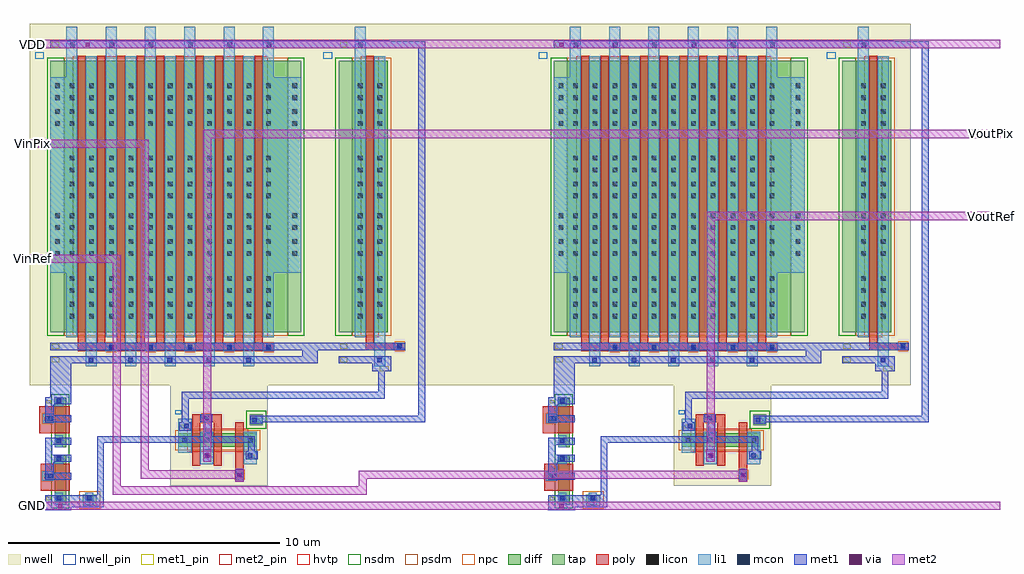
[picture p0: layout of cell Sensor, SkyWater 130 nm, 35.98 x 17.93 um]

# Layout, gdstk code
import gdstk
lib = gdstk.Library(unit=1e-6, precision=1e-09)
def R(c, l, rs):  # rectangles x0, y0, x1, y1
    for r in rs: c.add(gdstk.rectangle(r[:2], r[2:], *l))
def A(c, l, x, y, w, h, nx, ny, dx, dy):  # array of equal rectangles
    R(c, l, [(x+i*dx, y+j*dy, x+i*dx+w, y+j*dy+h) for i in range(nx) for j in range(ny)])
nwell_pin = (64, 16)
nwell = (64, 20)
diff = (65, 20)
tap = (65, 44)
poly = (66, 20)
licon = (66, 44)
li1 = (67, 20)
mcon = (67, 44)
met1_pin = (68, 16)
met1 = (68, 20)
via = (68, 44)
met2_pin = (69, 16)
met2 = (69, 20)
hvtp = (78, 44)
nsdm = (93, 44)
psdm = (94, 20)
npc = (95, 20)

driver = lib.new_cell('Driver')
R(driver, nwell_pin, [(2.29,7.09,2.61,7.33)])
R(driver, nwell, [(2.08,-4.96,12.705,8.37)])
R(driver, diff, [(3.35,-3,11.59,7)])
R(driver, tap, [(2.85,-3,3.35,7), (11.59,-3,12.09,7)])
A(driver, poly, 3.85, -3.38, 0.3, 10.58, 10, 1, 0.725, 0)
R(driver, poly, [(3.85,-3.71,11.1,-3.38)])
A(driver, licon, 5.01, -3.63, 0.17, 0.17, 5, 1, 1.45, 0)
R(driver, licon, [(3.56,-2.495,3.73,-2.325), (4.28,-2.495,4.45,-2.325), (5.01,-2.495,5.18,-2.325), (5.73,-2.495,5.9,-2.325), (6.46,-2.495,6.63,-2.325), (7.18,-2.495,7.35,-2.325), (7.91,-2.495,8.08,-2.325), (8.63,-2.495,8.8,-2.325), (9.36,-2.495,9.53,-2.325), (10.08,-2.495,10.25,-2.325), (10.81,-2.495,10.98,-2.325), (3.56,-2.055,3.73,-1.885), (4.28,-2.055,4.45,-1.885), (5.01,-2.055,5.18,-1.885), (5.73,-2.055,5.9,-1.885), (6.46,-2.055,6.63,-1.885), (7.18,-2.055,7.35,-1.885), (7.91,-2.055,8.08,-1.885), (8.63,-2.055,8.8,-1.885), (9.36,-2.055,9.53,-1.885), (10.08,-2.055,10.25,-1.885), (10.81,-2.055,10.98,-1.885), (3.56,-1.545,3.73,-1.375), (4.28,-1.545,4.45,-1.375), (5.01,-1.545,5.18,-1.375), (5.73,-1.545,5.9,-1.375), (6.46,-1.545,6.63,-1.375), (7.18,-1.545,7.35,-1.375), (7.91,-1.545,8.08,-1.375), (8.63,-1.545,8.8,-1.375), (9.36,-1.545,9.53,-1.375), (10.08,-1.545,10.25,-1.375), (10.81,-1.545,10.98,-1.375), (3.56,-1.105,3.73,-0.935), (4.28,-1.105,4.45,-0.935), (5.01,-1.105,5.18,-0.935), (5.73,-1.105,5.9,-0.935), (6.46,-1.105,6.63,-0.935), (7.18,-1.105,7.35,-0.935), (7.91,-1.105,8.08,-0.935), (8.63,-1.105,8.8,-0.935), (9.36,-1.105,9.53,-0.935), (10.08,-1.105,10.25,-0.935), (10.81,-1.105,10.98,-0.935), (3.03,-0.18,3.2,-0.01), (3.56,-0.18,3.73,-0.01), (4.28,-0.18,4.45,-0.01), (5.01,-0.18,5.18,-0.01), (5.73,-0.18,5.9,-0.01), (6.46,-0.18,6.63,-0.01), (7.18,-0.18,7.35,-0.01), (7.91,-0.18,8.08,-0.01), (8.63,-0.18,8.8,-0.01), (9.36,-0.18,9.53,-0.01), (10.08,-0.18,10.25,-0.01), (10.81,-0.18,10.98,-0.01), (11.77,-0.18,11.94,-0.01), (3.03,0.26,3.2,0.43), (3.56,0.26,3.73,0.43), (4.28,0.26,4.45,0.43), (5.01,0.26,5.18,0.43), (5.73,0.26,5.9,0.43), (6.46,0.26,6.63,0.43), (7.18,0.26,7.35,0.43), (7.91,0.26,8.08,0.43), (8.63,0.26,8.8,0.43), (9.36,0.26,9.53,0.43), (10.08,0.26,10.25,0.43), (10.81,0.26,10.98,0.43), (11.77,0.26,11.94,0.43), (3.03,0.77,3.2,0.94), (3.56,0.77,3.73,0.94), (4.28,0.77,4.45,0.94), (5.01,0.77,5.18,0.94), (5.73,0.77,5.9,0.94), (6.46,0.77,6.63,0.94), (7.18,0.77,7.35,0.94), (7.91,0.77,8.08,0.94), (8.63,0.77,8.8,0.94), (9.36,0.77,9.53,0.94), (10.08,0.77,10.25,0.94), (10.81,0.77,10.98,0.94), (11.77,0.77,11.94,0.94), (3.03,1.21,3.2,1.38), (3.56,1.21,3.73,1.38), (4.28,1.21,4.45,1.38), (5.01,1.21,5.18,1.38), (5.73,1.21,5.9,1.38), (6.46,1.21,6.63,1.38), (7.18,1.21,7.35,1.38), (7.91,1.21,8.08,1.38), (8.63,1.21,8.8,1.38), (9.36,1.21,9.53,1.38), (10.08,1.21,10.25,1.38), (10.81,1.21,10.98,1.38), (11.77,1.21,11.94,1.38), (3.56,1.945,3.73,2.115), (4.28,1.945,4.45,2.115), (5.01,1.945,5.18,2.115), (5.73,1.945,5.9,2.115), (6.46,1.945,6.63,2.115), (7.18,1.945,7.35,2.115), (7.91,1.945,8.08,2.115), (8.63,1.945,8.8,2.115), (9.36,1.945,9.53,2.115), (10.08,1.945,10.25,2.115), (10.81,1.945,10.98,2.115), (3.56,2.385,3.73,2.555), (4.28,2.385,4.45,2.555), (5.01,2.385,5.18,2.555), (5.73,2.385,5.9,2.555), (6.46,2.385,6.63,2.555), (7.18,2.385,7.35,2.555), (7.91,2.385,8.08,2.555), (8.63,2.385,8.8,2.555), (9.36,2.385,9.53,2.555), (10.08,2.385,10.25,2.555), (10.81,2.385,10.98,2.555), (3.56,2.895,3.73,3.065), (4.28,2.895,4.45,3.065), (5.01,2.895,5.18,3.065), (5.73,2.895,5.9,3.065), (6.46,2.895,6.63,3.065), (7.18,2.895,7.35,3.065), (7.91,2.895,8.08,3.065), (8.63,2.895,8.8,3.065), (9.36,2.895,9.53,3.065), (10.08,2.895,10.25,3.065), (10.81,2.895,10.98,3.065), (3.56,3.335,3.73,3.505), (4.28,3.335,4.45,3.505), (5.01,3.335,5.18,3.505), (5.73,3.335,5.9,3.505), (6.46,3.335,6.63,3.505), (7.18,3.335,7.35,3.505), (7.91,3.335,8.08,3.505), (8.63,3.335,8.8,3.505), (9.36,3.335,9.53,3.505), (10.08,3.335,10.25,3.505), (10.81,3.335,10.98,3.505), (3.03,4.61,3.2,4.78), (3.56,4.61,3.73,4.78), (4.28,4.61,4.45,4.78), (5.01,4.61,5.18,4.78), (5.73,4.61,5.9,4.78), (6.46,4.61,6.63,4.78), (7.18,4.61,7.35,4.78), (7.91,4.61,8.08,4.78), (8.63,4.61,8.8,4.78), (9.36,4.61,9.53,4.78), (10.08,4.61,10.25,4.78), (10.81,4.61,10.98,4.78), (11.77,4.61,11.94,4.78), (3.03,5.05,3.2,5.22), (3.56,5.05,3.73,5.22), (4.28,5.05,4.45,5.22), (5.01,5.05,5.18,5.22), (5.73,5.05,5.9,5.22), (6.46,5.05,6.63,5.22), (7.18,5.05,7.35,5.22), (7.91,5.05,8.08,5.22), (8.63,5.05,8.8,5.22), (9.36,5.05,9.53,5.22), (10.08,5.05,10.25,5.22), (10.81,5.05,10.98,5.22), (11.77,5.05,11.94,5.22), (3.03,5.56,3.2,5.73), (3.56,5.56,3.73,5.73), (4.28,5.56,4.45,5.73), (5.01,5.56,5.18,5.73), (5.73,5.56,5.9,5.73), (6.46,5.56,6.63,5.73), (7.18,5.56,7.35,5.73), (7.91,5.56,8.08,5.73), (8.63,5.56,8.8,5.73), (9.36,5.56,9.53,5.73), (10.08,5.56,10.25,5.73), (10.81,5.56,10.98,5.73), (11.77,5.56,11.94,5.73), (3.03,6,3.2,6.17), (3.56,6,3.73,6.17), (4.28,6,4.45,6.17), (5.01,6,5.18,6.17), (5.73,6,5.9,6.17), (6.46,6,6.63,6.17), (7.18,6,7.35,6.17), (7.91,6,8.08,6.17), (8.63,6,8.8,6.17), (9.36,6,9.53,6.17), (10.08,6,10.25,6.17), (10.81,6,10.98,6.17), (11.77,6,11.94,6.17)])
A(driver, li1, 4.16, -4.255, 0.405, 11.435, 5, 1, 1.45, 0)
A(driver, li1, 4.875, -3.71, 0.425, 0.33, 5, 1, 1.45, 0)
A(driver, li1, 4.885, -3.18, 0.405, 11.435, 4, 1, 1.45, 0)
R(driver, li1, [(3.435,-3.18,3.84,-0.805), (10.685,-3.18,11.09,-0.805), (2.85,-0.805,3.84,6.405), (10.685,-0.805,12.09,6.405), (3.435,6.405,3.84,8.255), (10.685,6.405,11.09,8.255)])
A(driver, mcon, 4.265, -4.105, 0.17, 0.17, 5, 1, 1.45, 0)
A(driver, mcon, 5.01, -3.63, 0.17, 0.17, 5, 1, 1.45, 0)
A(driver, mcon, 3.575, 7.515, 0.17, 0.17, 6, 1, 1.45, 0)
R(driver, met1_pin, [(2.9,-4.1,3.17,-3.915), (2.9,-3.61,3.17,-3.425), (2.9,7.51,3.17,7.695)])
R(driver, met1, [(2.85,-4.15,12.13,-3.88), (2.85,-3.665,12.09,-3.395), (2.85,7.47,12.07,7.74)])
R(driver, hvtp, [(3.67,-3.18,10.855,7.18)])
R(driver, nsdm, [(2.725,-3.125,3.35,7.125), (11.59,-3.125,12.215,7.125)])
R(driver, psdm, [(3.35,-3.125,11.59,7.125)])
A(driver, npc, 4.91, -3.73, 0.37, 0.37, 5, 1, 1.45, 0)
driver.add(gdstk.Label('D_Driver', (3.035,-4.007), layer=68, texttype=5))
driver.add(gdstk.Label('G_Driver', (3.035,-3.517), layer=68, texttype=5))
driver.add(gdstk.Label('VDD', (3.035,7.602), layer=68, texttype=5))
driver.add(gdstk.Label('VDD', (2.45,7.21), layer=64, texttype=5))

mirror = lib.new_cell('Mirror')
R(mirror, nwell_pin, [(2.29,7.09,2.61,7.33)])
R(mirror, nwell, [(2.08,-4.96,5.385,8.37)])
R(mirror, diff, [(3.35,-3,4.665,7)])
R(mirror, tap, [(2.85,-3,3.35,7)])
R(mirror, poly, [(3.85,-3.665,5.3,-3.38), (3.85,-3.38,4.15,7.2)])
R(mirror, licon, [(5.01,-3.605,5.18,-3.435), (3.56,-2.495,3.73,-2.325), (4.28,-2.495,4.45,-2.325), (3.56,-2.055,3.73,-1.885), (4.28,-2.055,4.45,-1.885), (3.56,-1.545,3.73,-1.375), (4.28,-1.545,4.45,-1.375), (3.56,-1.105,3.73,-0.935), (4.28,-1.105,4.45,-0.935), (3.56,-0.18,3.73,-0.01), (4.28,-0.18,4.45,-0.01), (3.56,0.26,3.73,0.43), (4.28,0.26,4.45,0.43), (3.56,0.77,3.73,0.94), (4.28,0.77,4.45,0.94), (3.56,1.21,3.73,1.38), (4.28,1.21,4.45,1.38), (3.56,1.945,3.73,2.115), (4.28,1.945,4.45,2.115), (3.56,2.385,3.73,2.555), (4.28,2.385,4.45,2.555), (3.56,2.895,3.73,3.065), (4.28,2.895,4.45,3.065), (3.56,3.335,3.73,3.505), (4.28,3.335,4.45,3.505), (3.56,4.61,3.73,4.78), (4.28,4.61,4.45,4.78), (3.56,5.05,3.73,5.22), (4.28,5.05,4.45,5.22), (3.56,5.56,3.73,5.73), (4.28,5.56,4.45,5.73), (3.56,6,3.73,6.17), (4.28,6,4.45,6.17)])
R(mirror, li1, [(4.16,-4.255,4.565,7.18), (4.875,-3.665,5.3,-3.38), (3.435,-3.18,3.84,8.255)])
R(mirror, mcon, [(4.265,-4.105,4.435,-3.935), (5.01,-3.6,5.18,-3.43), (3.575,7.515,3.745,7.685)])
R(mirror, met1_pin, [(2.9,-4.1,3.17,-3.915), (2.9,-3.61,3.17,-3.425), (2.9,7.51,3.17,7.695)])
R(mirror, met1, [(2.85,-4.15,4.795,-3.88), (2.85,-3.665,5.3,-3.395), (2.85,7.47,4.73,7.74)])
R(mirror, hvtp, [(3.67,-3.18,4.33,7.18)])
R(mirror, nsdm, [(2.725,-3.125,3.35,7.125)])
R(mirror, psdm, [(3.35,-3.125,4.79,7.125)])
R(mirror, npc, [(4.91,-3.705,5.28,-3.335)])
mirror.add(gdstk.Label('D_Mirror', (3.035,-4.007), layer=68, texttype=5))
mirror.add(gdstk.Label('G_Mirror', (3.035,-3.517), layer=68, texttype=5))
mirror.add(gdstk.Label('VDD', (3.035,7.602), layer=68, texttype=5))
mirror.add(gdstk.Label('VDD', (2.45,7.21), layer=64, texttype=5))

load = lib.new_cell('Load')
R(load, diff, [(2.12,-0.38,2.54,1.44), (2.12,1.74,2.54,3.56)])
R(load, tap, [(3.155,-0.41,3.68,-0.01)])
R(load, poly, [(1.6,0.13,2.67,1.13), (1.56,2.25,2.67,3.25)])
R(load, licon, [(2.185,-0.24,2.355,-0.07), (3.315,-0.24,3.485,-0.07), (1.76,0.595,1.93,0.765), (2.185,1.22,2.355,1.39), (2.185,1.88,2.355,2.05), (1.76,2.715,1.93,2.885), (2.185,3.34,2.355,3.51)])
R(load, li1, [(2.12,-0.38,2.42,0.06), (3.25,-0.38,3.55,0.06), (1.67,0.505,2.09,0.85), (2.105,1.14,2.435,1.47), (2.12,1.74,2.42,2.18), (1.68,2.63,2.09,2.97), (2.105,3.26,2.435,3.59)])
R(load, mcon, [(2.2,-0.235,2.37,-0.065), (3.305,-0.235,3.475,-0.065), (1.89,0.595,2.06,0.765), (2.2,1.25,2.37,1.42), (2.2,1.885,2.37,2.055), (1.89,2.715,2.06,2.885), (2.2,3.37,2.37,3.54)])
R(load, met1_pin, [(1.81,-0.21,1.985,-0.085), (1.81,3.355,1.985,3.48)])
R(load, met1, [(1.765,-0.285,3.775,-0.035), (1.765,0.545,2.735,0.795), (1.765,0.795,2.09,1.21), (1.765,1.21,2.735,1.46), (1.765,1.46,2.04,1.835), (1.765,1.835,2.735,2.085), (1.765,2.665,2.735,2.915), (1.765,2.915,2.09,3.33), (1.765,3.33,2.735,3.58)])
R(load, nsdm, [(1.995,-0.505,2.665,3.685)])
R(load, psdm, [(3.03,-0.535,3.805,0.115)])
R(load, npc, [(1.66,0.495,2.03,0.865), (1.66,2.615,2.03,2.985)])
load.add(gdstk.Label('GND', (1.897,-0.147), layer=68, texttype=5))
load.add(gdstk.Label('D_Load', (1.897,3.417), layer=68, texttype=5))

cur_mir = lib.new_cell('Cur_Mir')
R(cur_mir, met1_pin, [(-0.72,-4.63,-0.55,-4.505), (11.58,0.115,11.9,0.305), (-0.515,12.07,-0.245,12.255)])
R(cur_mir, met1, [(-0.765,-5,0.205,-4.455), (-0.565,-0.84,0.205,0.41), (11.29,0.115,12.005,0.68), (8.715,0.41,9.29,0.895), (8.675,0.895,10.06,1.165), (-0.56,12.03,-0.125,12.3), (8.655,12.03,10.06,12.3)])
cur_mir.add(gdstk.Reference(driver, (-3.415,4.56)))
cur_mir.add(gdstk.Reference(mirror, (7.21,4.56)))
cur_mir.add(gdstk.Reference(load, (-2.53,-4.42)))
cur_mir.add(gdstk.Label('Mirror_out', (11.74,0.21), layer=68, texttype=5))
cur_mir.add(gdstk.Label('VDD', (-0.38,12.162), layer=68, texttype=5))
cur_mir.add(gdstk.Label('GND', (-0.635,-4.567), layer=68, texttype=5))

pixel = lib.new_cell('Pixel')
R(pixel, nwell_pin, [(8.69,5.24,8.91,5.38)])
R(pixel, nwell, [(8.5,2.6,12.085,5.475)])
R(pixel, diff, [(8.8,4.03,11.69,4.53)])
R(pixel, tap, [(11.425,4.83,11.905,5.24)])
R(pixel, poly, [(10.9,2.755,11.2,4.94), (9.3,3.335,9.6,4.94), (10.1,3.335,10.4,4.94), (9.3,4.94,10.4,5.24)])
R(pixel, licon, [(10.97,2.915,11.14,3.085), (8.945,4.195,9.115,4.365), (9.755,4.195,9.925,4.365), (11.375,4.195,11.545,4.365), (9.745,5.01,9.915,5.18)])
R(pixel, li1, [(10.91,2.795,11.195,3.22), (9.61,3.4,10.09,4.6), (11.21,3.4,11.69,4.6), (8.8,3.815,9.29,5.065), (11.45,4.885,11.89,5.185), (9.61,4.95,10.035,5.235)])
R(pixel, mcon, [(10.975,2.915,11.145,3.085), (9.77,3.625,9.94,3.795), (11.355,3.625,11.525,3.795), (9.015,4.715,9.185,4.885), (11.52,4.94,11.69,5.11), (9.745,5.015,9.915,5.185)])
R(pixel, met1_pin, [(10.98,2.925,11.115,3.055), (9.705,3.62,9.84,3.75), (11.485,3.62,11.62,3.75), (8.88,4.715,9.015,4.845), (11.65,4.935,11.785,5.065), (9.775,5.03,9.91,5.16)])
R(pixel, met1, [(10.9,2.755,11.2,3.215), (9.705,3.49,10.005,3.95), (11.285,3.57,11.725,3.87), (8.835,4.635,9.275,4.935), (11.45,4.885,11.89,5.185), (9.61,4.94,10.05,5.24)])
R(pixel, hvtp, [(9.12,3.85,11.38,4.71)])
R(pixel, nsdm, [(11.3,4.705,12.03,5.365)])
R(pixel, psdm, [(8.675,3.905,11.815,4.655)])
R(pixel, npc, [(10.87,2.815,11.24,3.185), (9.645,4.91,10.015,5.28)])
pixel.add(gdstk.Label('VFD', (11.047,2.99), layer=68, texttype=5))
pixel.add(gdstk.Label('Vgnd', (11.552,3.685), layer=68, texttype=5))
pixel.add(gdstk.Label('Vout', (9.772,3.685), layer=68, texttype=5))
pixel.add(gdstk.Label('VSels', (9.842,5.095), layer=68, texttype=5))
pixel.add(gdstk.Label('Vmirror', (8.947,4.78), layer=68, texttype=5))
pixel.add(gdstk.Label('VDD', (11.717,5), layer=68, texttype=5))
pixel.add(gdstk.Label('VDD', (8.8,5.31), layer=64, texttype=5))

sensor = lib.new_cell('Sensor')
R(sensor, nwell, [(-0.62,8.135,2.965,8.96), (17.94,8.135,21.525,8.96), (8.12,8.96,12.75,22.29)])
R(sensor, met1, [(-4.805,4.385,-4.545,4.645), (13.67,4.385,13.93,4.645), (-4.27,4.465,-3.07,4.715), (14.29,4.465,15.49,4.715), (-3.32,4.715,-3.07,6.84), (15.24,4.715,15.49,6.84), (1.815,5.515,2.075,5.775), (20.375,5.515,20.635,5.775), (0.62,6.25,0.88,6.51), (19.18,6.25,19.44,6.51), (2.25,6.53,2.5,6.84), (20.81,6.53,21.06,6.84), (-3.32,6.84,2.5,7.09), (15.24,6.84,21.06,7.09), (0.655,7.09,0.905,7.6), (19.215,7.09,19.465,7.6), (-0.2,7.595,0.05,8.47), (2.77,7.595,8.77,7.845), (18.36,7.595,18.61,8.47), (21.33,7.595,27.33,7.845), (8.52,7.845,8.77,21.39), (27.08,7.845,27.33,21.39), (-0.2,8.47,7.29,8.72), (18.36,8.47,25.85,8.72), (7.04,8.72,7.29,9.475), (25.6,8.72,25.85,9.475), (-3.9,21.38,-3.44,21.68), (13.57,21.38,14.03,21.68), (7.465,21.39,8.77,21.64), (26.025,21.39,27.33,21.64)])
R(sensor, via, [(-4.75,4.44,-4.6,4.59), (13.725,4.44,13.875,4.59), (1.87,5.57,2.02,5.72), (20.43,5.57,20.58,5.72), (0.675,6.305,0.825,6.455), (19.235,6.305,19.385,6.455), (-3.745,21.44,-3.595,21.59), (13.725,21.44,13.875,21.59)])
R(sensor, met2_pin, [(-5.96,4.38,-5.475,4.68), (-5.96,13.475,-5.475,13.775), (29.405,15.055,29.89,15.355), (-5.96,17.715,-5.475,18.015), (29.405,18.08,29.89,18.38), (-5.96,21.395,-5.475,21.695)])
R(sensor, met2, [(-6.015,4.38,29.965,4.68), (-2.75,4.935,6.62,5.235), (-2.75,5.235,-2.45,13.475), (6.32,5.235,6.62,5.52), (1.78,5.415,2.08,5.525), (20.34,5.415,20.64,5.52), (6.32,5.52,20.64,5.82), (-1.715,5.525,2.08,5.825), (20.34,5.82,20.64,5.875), (-1.715,5.825,-1.415,17.715), (1.78,5.825,2.08,5.875), (0.585,6.15,0.885,6.61), (19.145,6.15,19.445,6.61), (0.59,6.61,0.89,18.08), (19.155,6.61,19.455,15.055), (-6.015,13.475,-2.45,13.775), (19.155,15.055,29.965,15.355), (-6.015,17.715,-1.415,18.015), (0.59,18.08,29.965,18.38), (-3.9,21.38,-3.44,21.395), (13.57,21.38,14.03,21.395), (-6.015,21.395,29.965,21.695)])
sensor.add(gdstk.Reference(cur_mir, (-4.475,9.36)))
sensor.add(gdstk.Reference(cur_mir, (14.085,9.36)))
sensor.add(gdstk.Reference(pixel, (9.44,2.66)))
sensor.add(gdstk.Reference(pixel, (-9.12,2.66)))
sensor.add(gdstk.Label('VoutPix', (29.647,18.23), layer=69, texttype=5))
sensor.add(gdstk.Label('VoutRef', (29.647,15.205), layer=69, texttype=5))
sensor.add(gdstk.Label('VinPix', (-5.717,17.865), layer=69, texttype=5))
sensor.add(gdstk.Label('VinRef', (-5.717,13.625), layer=69, texttype=5))
sensor.add(gdstk.Label('GND', (-5.717,4.53), layer=69, texttype=5))
sensor.add(gdstk.Label('VDD', (-5.717,21.545), layer=69, texttype=5))

lib.write_gds('Sensor.gds')
